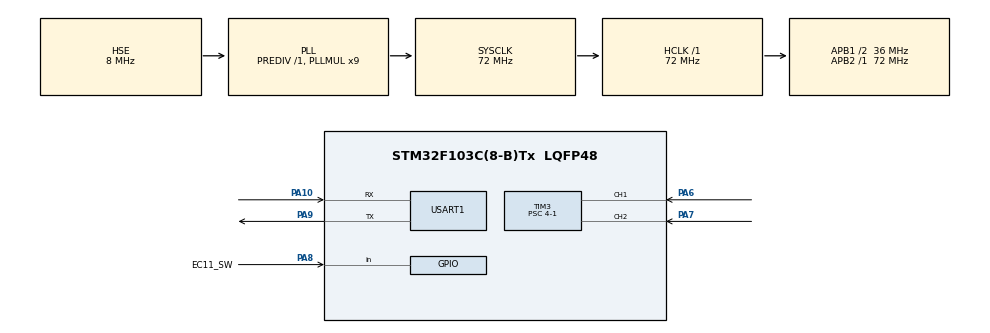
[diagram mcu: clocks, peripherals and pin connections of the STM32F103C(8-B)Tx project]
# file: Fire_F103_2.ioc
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Mcu.Family=STM32F1
Mcu.Name=STM32F103C(8-B)Tx
Mcu.Package=LQFP48
NVIC.PriorityGroup=NVIC_PRIORITYGROUP_4
PA10.Mode=Asynchronous
PA10.Signal=USART1_RX
PA13.Mode=Serial_Wire
PA13.Signal=SYS_JTMS-SWDIO
PA14.Mode=Serial_Wire
PA14.Signal=SYS_JTCK-SWCLK
PA6.Signal=S_TIM3_CH1
PA7.Signal=S_TIM3_CH2
PA8.GPIO_Label=EC11_SW
PA8.GPIO_PuPd=GPIO_PULLUP
PA8.Signal=GPIO_Input
PA9.Mode=Asynchronous
PA9.Signal=USART1_TX
PC14-OSC32_IN.Mode=LSE-External-Oscillator
PC14-OSC32_IN.Signal=RCC_OSC32_IN
PC15-OSC32_OUT.Mode=LSE-External-Oscillator
PC15-OSC32_OUT.Signal=RCC_OSC32_OUT
PD0-OSC_IN.Mode=HSE-External-Oscillator
PD0-OSC_IN.Signal=RCC_OSC_IN
PD1-OSC_OUT.Mode=HSE-External-Oscillator
PD1-OSC_OUT.Signal=RCC_OSC_OUT
ProjectManager.HeapSize=0x200
ProjectManager.StackSize=0x400
ProjectManager.TargetToolchain=MDK-ARM V5.32
RCC.AHBFreq_Value=72000000
RCC.APB1CLKDivider=RCC_HCLK_DIV2
RCC.APB1Freq_Value=36000000
RCC.APB1TimFreq_Value=72000000
RCC.APB2Freq_Value=72000000
RCC.APB2TimFreq_Value=72000000
RCC.HCLKFreq_Value=72000000
RCC.PLLMUL=RCC_PLL_MUL9
RCC.PLLSourceVirtual=RCC_PLLSOURCE_HSE
RCC.SYSCLKFreq_VALUE=72000000
RCC.SYSCLKSource=RCC_SYSCLKSOURCE_PLLCLK
RCC.USBFreq_Value=72000000
SH.S_TIM3_CH1.0=TIM3_CH1,Encoder_Interface
SH.S_TIM3_CH2.0=TIM3_CH2,Encoder_Interface
TIM3.EncoderMode=TIM_ENCODERMODE_TI12
TIM3.Prescaler=4-1
USART1.VirtualMode=VM_ASYNC
board=custom

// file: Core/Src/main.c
/* USER CODE BEGIN Header */
/**
  ******************************************************************************
  * @file           : main.c
  * @brief          : Main program body
  ******************************************************************************
  * @attention
  *
  * Copyright (c) 2026 STMicroelectronics.
  * All rights reserved.
  *
  * This software is licensed under terms that can be found in the LICENSE file
  * in the root directory of this software component.
  * If no LICENSE file comes with this software, it is provided AS-IS.
  *
  ******************************************************************************
  */
/* USER CODE END Header */
#include "main.h"
#include "tim.h"
#include "usart.h"
#include "gpio.h"

/* USER CODE BEGIN Includes */
#include <stdio.h>

/* USER CODE END Includes */

/* USER CODE BEGIN PV */
int16_t encoder_cnt=0;//编码器当前计数值（用于获取旋转变化）
int16_t encoder_last=0;//上一次编码器计数值（用于比较判断旋转方向和增量）
uint32_t no_move_time=0;//编码器未移动的时间（用于检测是否静止）uu
uint8_t encoder_static=0;//0：运动 1：静止

/* USER CODE END PV */

void SystemClock_Config(void);

int main(void)
{

  /* MCU Configuration--------------------------------------------------------*/

  /* Reset of all peripherals, Initializes the Flash interface and the Systick. */
  HAL_Init();

  /* Configure the system clock */
  SystemClock_Config();

  /* Initialize all configured peripherals */
  MX_GPIO_Init();
  MX_TIM3_Init();
  MX_USART1_UART_Init();
  /* USER CODE BEGIN 2 */
	//启动编码器
	HAL_TIM_Encoder_Start(&htim3, TIM_CHANNEL_ALL);

  /* USER CODE END 2 */

  /* Infinite loop */
  /* USER CODE BEGIN WHILE */
  while (1)
  {
		encoder_cnt=__HAL_TIM_GET_COUNTER(&htim3);
		if(encoder_cnt!= encoder_last)   //检测是否移动
	  {
			encoder_static=0;//有动作等待静止
			no_move_time=HAL_GetTick();//记录最后动作事件
		int16_t diff=encoder_cnt-encoder_last;//计算走过的步数（脉冲）
			if(__HAL_TIM_IS_TIM_COUNTING_DOWN(&htim3))//判断旋转方向
				printf("逆时针移动:%d,当前位置:%d\r\n",diff,encoder_cnt);
			else
				printf("顺时针移动:%d,当前位置:%d\r\n",diff,encoder_cnt);
			encoder_last=encoder_cnt;

		}
		else
		{
			//超过两秒静止
			if(HAL_GetTick()-no_move_time>2000&&encoder_static==0)
			{	encoder_static=1;
				printf("当前编码器静止超过两秒，当前位置：%d\r\n",encoder_cnt);

			}
		}
		//检测按钮是否被按下
		if(HAL_GPIO_ReadPin(GPIOA,EC11_SW_Pin)==GPIO_PIN_RESET)
		{
				HAL_Delay(20);//消抖
			if(HAL_GPIO_ReadPin(GPIOA,EC11_SW_Pin)==GPIO_PIN_RESET)
			{
				printf("sw按钮被按下\r\n");
				while(HAL_GPIO_ReadPin(GPIOA,EC11_SW_Pin)==GPIO_PIN_RESET);//等待松手

			}
		}

    /* USER CODE END WHILE */

  }
}

void SystemClock_Config(void)
{
  RCC_OscInitTypeDef RCC_OscInitStruct = {0};
  RCC_ClkInitTypeDef RCC_ClkInitStruct = {0};

  /** Initializes the RCC Oscillators according to the specified parameters
  * in the RCC_OscInitTypeDef structure.
  */
  RCC_OscInitStruct.OscillatorType = RCC_OSCILLATORTYPE_HSE;
  RCC_OscInitStruct.HSEState = RCC_HSE_ON;
  RCC_OscInitStruct.HSEPredivValue = RCC_HSE_PREDIV_DIV1;
  RCC_OscInitStruct.HSIState = RCC_HSI_ON;
  RCC_OscInitStruct.PLL.PLLState = RCC_PLL_ON;
  RCC_OscInitStruct.PLL.PLLSource = RCC_PLLSOURCE_HSE;
  RCC_OscInitStruct.PLL.PLLMUL = RCC_PLL_MUL9;
  if (HAL_RCC_OscConfig(&RCC_OscInitStruct) != HAL_OK)
  {
    Error_Handler();
  }

  /** Initializes the CPU, AHB and APB buses clocks
  */
  RCC_ClkInitStruct.ClockType = RCC_CLOCKTYPE_HCLK|RCC_CLOCKTYPE_SYSCLK
                              |RCC_CLOCKTYPE_PCLK1|RCC_CLOCKTYPE_PCLK2;
  RCC_ClkInitStruct.SYSCLKSource = RCC_SYSCLKSOURCE_PLLCLK;
  RCC_ClkInitStruct.AHBCLKDivider = RCC_SYSCLK_DIV1;
  RCC_ClkInitStruct.APB1CLKDivider = RCC_HCLK_DIV2;
  RCC_ClkInitStruct.APB2CLKDivider = RCC_HCLK_DIV1;

  if (HAL_RCC_ClockConfig(&RCC_ClkInitStruct, FLASH_LATENCY_2) != HAL_OK)
  {
    Error_Handler();
  }
}

/* USER CODE BEGIN 4 */
int fputc(int ch,FILE*f)
{
	HAL_UART_Transmit(&huart1,(uint8_t*)&ch,1 ,HAL_MAX_DELAY);
	return ch;

}

/* USER CODE END 4 */

void Error_Handler(void)
{
  __disable_irq();
  while (1)
  {
  }
}
